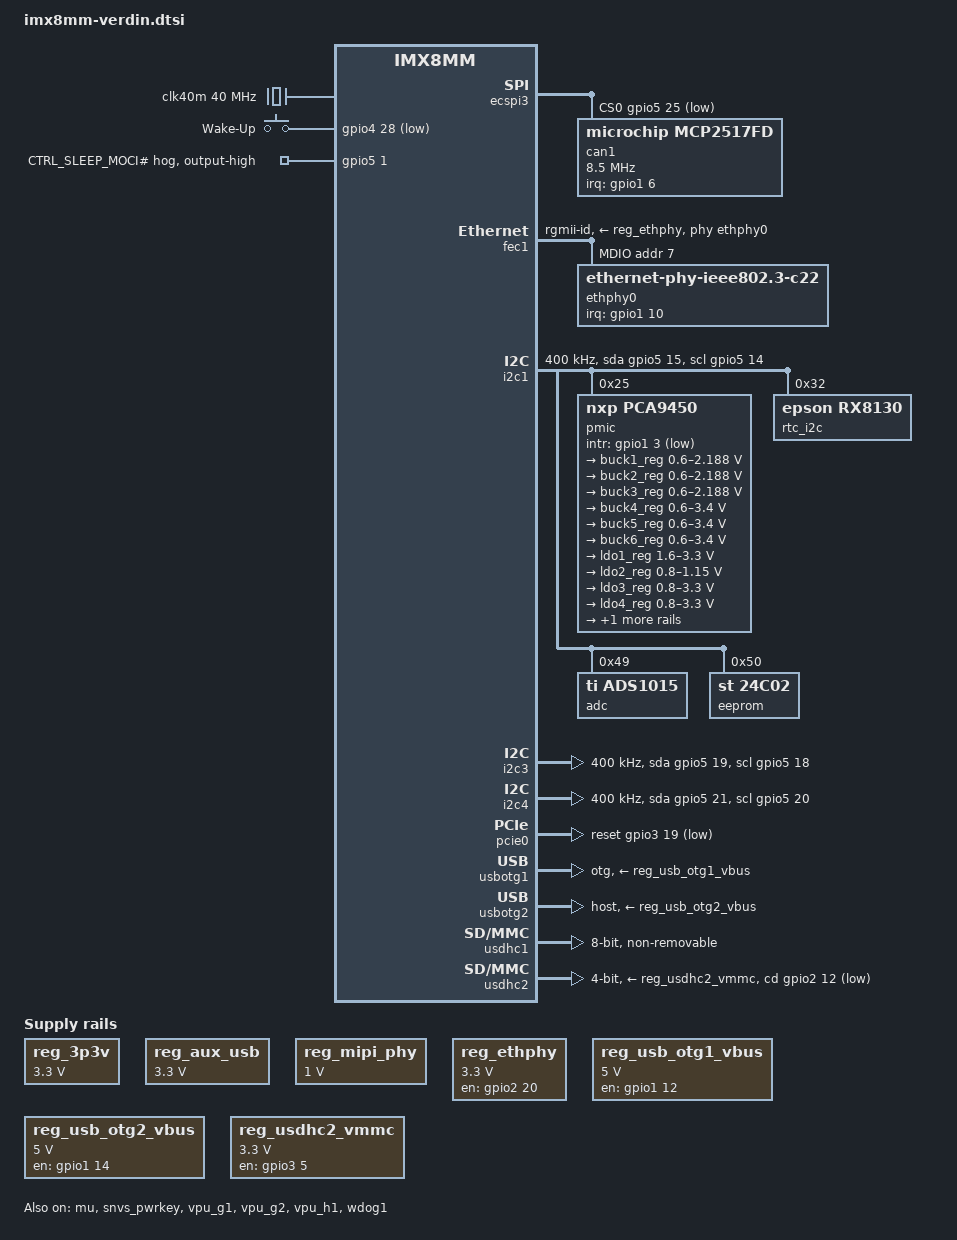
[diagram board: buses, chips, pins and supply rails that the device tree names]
// SPDX-License-Identifier: GPL-2.0-or-later OR MIT
/*
 * Copyright 2019-2021 Toradex
 */

#include "dt-bindings/pwm/pwm.h"
#include "imx8mm.dtsi"

/ {
	chosen {
		bootargs = "console=ttymxc0,115200 earlycon";
		stdout-path = &uart1;
	};

	aliases {
		rtc0 = &rtc_i2c;
		rtc1 = &snvs_rtc;
	};

	backlight: backlight {
		compatible = "pwm-backlight";
		brightness-levels = <0 45 63 88 119 158 203 255>;
		default-brightness-level = <4>;
		/* Verdin I2S_2_D_OUT (DSI_1_BKL_EN/DSI_1_BKL_EN_LVDS, SODIMM 46) */
		enable-gpios = <&gpio3 24 GPIO_ACTIVE_HIGH>;
		pinctrl-names = "default";
		pinctrl-0 = <&pinctrl_i2s_2_d_out_dsi_1_bkl_en>;
		power-supply = <&reg_3p3v>;
		/* Verdin PWM_3_DSI/PWM_3_DSI_LVDS (SODIMM 19) */
		pwms = <&pwm1 0 6666667 PWM_POLARITY_INVERTED>;
		status = "disabled";
	};

	/* fixed clock dedicated to SPI CAN controller */
	clk40m: oscillator {
		compatible = "fixed-clock";
		#clock-cells = <0>;
		clock-frequency = <40000000>;
	};

	gpio-keys {
		compatible = "gpio-keys";
		pinctrl-names = "default";
		pinctrl-0 = <&pinctrl_gpio_keys>;

		wakeup {
			debounce-interval = <10>;
			/* Verdin CTRL_WAKE1_MICO# (SODIMM 252) */
			gpios = <&gpio4 28 GPIO_ACTIVE_LOW>;
			label = "Wake-Up";
			linux,code = <KEY_WAKEUP>;
			wakeup-source;
		};
	};

	/* Carrier Board Supply */
	reg_3p3v: regulator-3p3v {
		compatible = "regulator-fixed";
		regulator-max-microvolt = <3300000>;
		regulator-min-microvolt = <3300000>;
		regulator-name = "REG_3P3V";
	};

	reg_aux_usb: regulator-aux-usb {
		compatible = "regulator-fixed";
		regulator-max-microvolt = <3300000>;
		regulator-min-microvolt = <3300000>;
		regulator-name = "REG_AUX_USB";
	};

	reg_mipi_phy: regulator-mipi-phy {
		compatible = "regulator-fixed";
		regulator-max-microvolt = <1000000>;
		regulator-min-microvolt = <1000000>;
		regulator-name = "REG_MIPI_PHY";
	};

	reg_ethphy: regulator-ethphy {
		compatible = "regulator-fixed";
		enable-active-high;
		gpio = <&gpio2 20 GPIO_ACTIVE_HIGH>; /* PMIC_EN_ETH */
		off-on-delay = <500000>;
		pinctrl-names = "default";
		pinctrl-0 = <&pinctrl_reg_eth>;
		regulator-boot-on;
		regulator-max-microvolt = <3300000>;
		regulator-min-microvolt = <3300000>;
		regulator-name = "V3.3_ETH";
		startup-delay-us = <200000>;
	};

	reg_usb_otg1_vbus: regulator-usb-otg1 {
		compatible = "regulator-fixed";
		enable-active-high;
		/* Verdin USB1_EN */
		gpio = <&gpio1 12 GPIO_ACTIVE_HIGH>;
		pinctrl-names = "default";
		pinctrl-0 = <&pinctrl_reg_usb1_en>;
		regulator-max-microvolt = <5000000>;
		regulator-min-microvolt = <5000000>;
		regulator-name = "usb_otg1_vbus";
	};

	reg_usb_otg2_vbus: regulator-usb-otg2 {
		compatible = "regulator-fixed";
		enable-active-high;
		/* Verdin USB_2_EN (SODIMM 185) */
		gpio = <&gpio1 14 GPIO_ACTIVE_HIGH>;
		pinctrl-names = "default";
		pinctrl-0 = <&pinctrl_reg_usb2_en>;
		regulator-max-microvolt = <5000000>;
		regulator-min-microvolt = <5000000>;
		regulator-name = "usb_otg2_vbus";
	};

	reg_usdhc2_vmmc: regulator-usdhc2 {
		compatible = "regulator-fixed";
		enable-active-high;
		/* Verdin SD_1_PWR_EN (SODIMM 76) */
		gpio = <&gpio3 5 GPIO_ACTIVE_HIGH>;
		pinctrl-names = "default";
		pinctrl-0 = <&pinctrl_usdhc2_pwr_en>;
		regulator-max-microvolt = <3300000>;
		regulator-min-microvolt = <3300000>;
		regulator-name = "V3.3_SD";
		startup-delay-us = <2000>;
		off-on-delay = <100000>;
	};

	reserved-memory {
		#address-cells = <2>;
		#size-cells = <2>;
		ranges;

		/* use the kernel configuration settings instead */
		/delete-node/ linux,cma;

		rpmsg_reserved: rpmsg@b8000000 {
			no-map;
			reg = <0 0xb8000000 0 0x400000>;
		};
	};
};

&A53_0 {
	cpu-supply = <&buck2_reg>;
};

/* Verdin SPI_1 */
&ecspi2 {
	#address-cells = <1>;
	#size-cells = <0>;
	pinctrl-names = "default";
	pinctrl-0 = <&pinctrl_ecspi2>;
	cs-gpios = <&gpio5 13 GPIO_ACTIVE_LOW>;
};

/* Verdin CAN_1 and CAN_2 (on-module) */
&ecspi3 {
	#address-cells = <1>;
	#size-cells = <0>;
	cs-gpios = <&gpio5 25 GPIO_ACTIVE_LOW>,
		   <&gpio1 5 GPIO_ACTIVE_LOW>;
	/* This property is required, even if marked as obsolete in the doku */
	fsl,spi-num-chipselects = <2>;
	pinctrl-names = "default";
	pinctrl-0 = <&pinctrl_ecspi3>;
	status = "okay";

	can1: can@0 {
		compatible = "microchip,mcp2517fd";
		clocks = <&clk40m>;
		gpio-controller;
		interrupt-parent = <&gpio1>;
		interrupts = <6 IRQ_TYPE_EDGE_FALLING>;
		microchip,clock-allways-on;
		microchip,clock-out-div = <1>;
		pinctrl-names = "default";
		pinctrl-0 = <&pinctrl_can1_int>;
		reg = <0>;
		spi-max-frequency = <8500000>;
	};

	can2: can@1 {
		compatible = "microchip,mcp2517fd";
		clocks = <&clk40m>;
		gpio-controller;
		interrupt-parent = <&gpio1>;
		interrupts = <7 IRQ_TYPE_EDGE_FALLING>;
		pinctrl-names = "default";
		pinctrl-0 = <&pinctrl_can2_int>;
		reg = <1>;
		spi-max-frequency = <2000000>;
		/* not assembled */
		status = "disabled";
	};
};

/* Verdin ETH_1 (on-module PHY) */
&fec1 {
	fsl,magic-packet;
	phy-handle = <&ethphy0>;
	phy-mode = "rgmii-id";
	phy-supply = <&reg_ethphy>;
	pinctrl-names = "default", "sleep";
	pinctrl-0 = <&pinctrl_fec1>;
	pinctrl-1 = <&pinctrl_fec1_sleep>;

	mdio {
		#address-cells = <1>;
		#size-cells = <0>;

		ethphy0: ethernet-phy@7 {
			compatible = "ethernet-phy-ieee802.3-c22";
			interrupt-parent = <&gpio1>;
			interrupts = <10 IRQ_TYPE_LEVEL_LOW>;
			micrel,led-mode = <0>;
			reg = <7>;
		};
	};
};

/* Verdin QSPI_1 */
&flexspi {
	pinctrl-names = "default";
	pinctrl-0 = <&pinctrl_flexspi0>;
#if 0
	flash0: mt25qu256aba@0 {
		#address-cells = <1>;
		#size-cells = <1>;
		compatible = "micron,mt25qu256aba";
		reg = <0>;
		spi-max-frequency = <80000000>;
		spi-nor,ddr-quad-read-dummy = <6>;
	};
#endif
};

&gpio1 {
	gpio-line-names = "SODIMM_216",
			  "SODIMM_19",
			  "",
			  "",
			  "",
			  "",
			  "",
			  "",
			  "SODIMM_220",
			  "SODIMM_222",
			  "",
			  "SODIMM_218",
			  "SODIMM_155",
			  "SODIMM_157",
			  "SODIMM_185",
			  "SODIMM_187";
};

&gpio2 {
	gpio-line-names = "",
			  "",
			  "",
			  "",
			  "",
			  "",
			  "",
			  "",
			  "",
			  "",
			  "",
			  "",
			  "SODIMM_84",
			  "SODIMM_78",
			  "SODIMM_74",
			  "SODIMM_80",
			  "SODIMM_82",
			  "SODIMM_70",
			  "SODIMM_72";
};

&gpio5 {
	gpio-line-names = "SODIMM_131",
			  "",
			  "SODIMM_91",
			  "SODIMM_16",
			  "SODIMM_15",
			  "SODIMM_208",
			  "SODIMM_137",
			  "SODIMM_139",
			  "SODIMM_141",
			  "SODIMM_143",
			  "SODIMM_196",
			  "SODIMM_200",
			  "SODIMM_198",
			  "SODIMM_202",
			  "",
			  "",
			  "SODIMM_55",
			  "SODIMM_53",
			  "SODIMM_95",
			  "SODIMM_93",
			  "SODIMM_14",
			  "SODIMM_12",
			  "",
			  "",
			  "",
			  "",
			  "SODIMM_210",
			  "SODIMM_212",
			  "SODIMM_151",
			  "SODIMM_153";

	ctrl_sleep_moci {
		gpio-hog;
		/* Verdin CTRL_SLEEP_MOCI# (SODIMM 256) */
		gpios = <1 GPIO_ACTIVE_HIGH>;
		line-name = "CTRL_SLEEP_MOCI#";
		output-high;
		pinctrl-names = "default";
		pinctrl-0 = <&pinctrl_ctrl_sleep_moci>;
	};
};

/* On-module I2C */
&i2c1 {
	clock-frequency = <400000>;
	pinctrl-names = "default", "gpio";
	pinctrl-0 = <&pinctrl_i2c1>;
	pinctrl-1 = <&pinctrl_i2c1_gpio>;
	scl-gpios = <&gpio5 14 (GPIO_ACTIVE_HIGH | GPIO_OPEN_DRAIN)>;
	sda-gpios = <&gpio5 15 (GPIO_ACTIVE_HIGH | GPIO_OPEN_DRAIN)>;
	status = "okay";

	pmic: pca9450@25 {
		compatible = "nxp,pca9450";
		gpio_intr = <&gpio1 3 GPIO_ACTIVE_LOW>;
		i2c-lt-en = <0x101>;
		/* PMIC PCA9450 PMIC_nINT GPIO1_IO3 */
		pinctrl-0 = <&pinctrl_pmic>;
		reg = <0x25>;

		regulators {
			#address-cells = <1>;
			#size-cells = <0>;

			pca9450,pmic-buck2-uses-i2c-dvs;
			/* Run/Standby voltage */
			pca9450,pmic-buck2-dvs-voltage = <950000>, <850000>;

			buck1_reg: regulator@0 {
				reg = <0>;
				regulator-compatible = "buck1";
				regulator-min-microvolt = <600000>;
				regulator-max-microvolt = <2187500>;
				regulator-boot-on;
				regulator-always-on;
				regulator-ramp-delay = <3125>;
			};

			buck2_reg: regulator@1 {
				reg = <1>;
				regulator-compatible = "buck2";
				regulator-min-microvolt = <600000>;
				regulator-max-microvolt = <2187500>;
				regulator-boot-on;
				regulator-always-on;
				regulator-ramp-delay = <3125>;
			};

			buck3_reg: regulator@2 {
				reg = <2>;
				regulator-compatible = "buck3";
				regulator-min-microvolt = <600000>;
				regulator-max-microvolt = <2187500>;
				regulator-boot-on;
				regulator-always-on;
			};

			buck4_reg: regulator@3 {
				reg = <3>;
				regulator-compatible = "buck4";
				regulator-min-microvolt = <600000>;
				regulator-max-microvolt = <3400000>;
				regulator-boot-on;
				regulator-always-on;
			};

			buck5_reg: regulator@4 {
				reg = <4>;
				regulator-compatible = "buck5";
				regulator-min-microvolt = <600000>;
				regulator-max-microvolt = <3400000>;
				regulator-boot-on;
				regulator-always-on;
			};

			buck6_reg: regulator@5 {
				reg = <5>;
				regulator-compatible = "buck6";
				regulator-min-microvolt = <600000>;
				regulator-max-microvolt = <3400000>;
				regulator-boot-on;
				regulator-always-on;
			};

			ldo1_reg: regulator@6 {
				reg = <6>;
				regulator-compatible = "ldo1";
				regulator-min-microvolt = <1600000>;
				regulator-max-microvolt = <3300000>;
				regulator-boot-on;
				regulator-always-on;
			};

			ldo2_reg: regulator@7 {
				reg = <7>;
				regulator-compatible = "ldo2";
				regulator-min-microvolt = <800000>;
				regulator-max-microvolt = <1150000>;
				regulator-boot-on;
				regulator-always-on;
			};

			ldo3_reg: regulator@8 {
				reg = <8>;
				regulator-compatible = "ldo3";
				regulator-min-microvolt = <800000>;
				regulator-max-microvolt = <3300000>;
				regulator-boot-on;
				regulator-always-on;
			};

			ldo4_reg: regulator@9 {
				reg = <9>;
				regulator-compatible = "ldo4";
				regulator-min-microvolt = <800000>;
				regulator-max-microvolt = <3300000>;
				regulator-boot-on;
				regulator-always-on;
			};

			ldo5_reg: regulator@10 {
				reg = <10>;
				regulator-compatible = "ldo5";
				regulator-min-microvolt = <1800000>;
				regulator-max-microvolt = <3300000>;
			};
		};
	};

	rtc_i2c: rtc@32 {
		compatible = "epson,rx8130";
		reg = <0x32>;
	};

	adc@49 {
		compatible = "ti,ads1015";
		reg = <0x49>;
		#address-cells = <1>;
		#size-cells = <0>;

		/* Verdin I2C_1 (ADC_4 - ADC_3) */
		channel@0 {
			reg = <0>;
			ti,gain = <2>;
			ti,datarate = <4>;
		};

		/* Verdin I2C_1 (ADC_4 - ADC_1) */
		channel@1 {
			reg = <1>;
			ti,gain = <2>;
			ti,datarate = <4>;
		};

		/* Verdin I2C_1 (ADC_3 - ADC_1) */
		channel@2 {
			reg = <2>;
			ti,gain = <2>;
			ti,datarate = <4>;
		};

		/* Verdin I2C_1 (ADC_2 - ADC_1) */
		channel@3 {
			reg = <3>;
			ti,gain = <2>;
			ti,datarate = <4>;
		};

		/* Verdin I2C_1 ADC_4 */
		channel@4 {
			reg = <4>;
			ti,gain = <2>;
			ti,datarate = <4>;
		};

		/* Verdin I2C_1 ADC_3 */
		channel@5 {
			reg = <5>;
			ti,gain = <2>;
			ti,datarate = <4>;
		};

		/* Verdin I2C_1 ADC_2 */
		channel@6 {
			reg = <6>;
			ti,gain = <2>;
			ti,datarate = <4>;
		};

		/* Verdin I2C_1 ADC_1 */
		channel@7 {
			reg = <7>;
			ti,gain = <2>;
			ti,datarate = <4>;
		};
	};

	eeprom@50 {
		compatible = "st,24c02";
		pagesize = <16>;
		reg = <0x50>;
	};
};

/* Verdin I2C_2_DSI */
&i2c2 {
	clock-frequency = <10000>;
	pinctrl-names = "default", "gpio";
	pinctrl-0 = <&pinctrl_i2c2>;
	pinctrl-1 = <&pinctrl_i2c2_gpio>;
	scl-gpios = <&gpio5 16 (GPIO_ACTIVE_HIGH | GPIO_OPEN_DRAIN)>;
	sda-gpios = <&gpio5 17 (GPIO_ACTIVE_HIGH | GPIO_OPEN_DRAIN)>;
	status = "disabled";
};

/* Verdin I2C_3_HDMI N/A */

/* Verdin I2C_4_CSI */
&i2c3 {
	clock-frequency = <400000>;
	pinctrl-names = "default", "gpio";
	pinctrl-0 = <&pinctrl_i2c3>;
	pinctrl-1 = <&pinctrl_i2c3_gpio>;
	scl-gpios = <&gpio5 18 (GPIO_ACTIVE_HIGH | GPIO_OPEN_DRAIN)>;
	sda-gpios = <&gpio5 19 (GPIO_ACTIVE_HIGH | GPIO_OPEN_DRAIN)>;
};

/* Verdin I2C_1 */
&i2c4 {
	clock-frequency = <400000>;
	pinctrl-names = "default", "gpio";
	pinctrl-0 = <&pinctrl_i2c4>;
	pinctrl-1 = <&pinctrl_i2c4_gpio>;
	scl-gpios = <&gpio5 20 (GPIO_ACTIVE_HIGH | GPIO_OPEN_DRAIN)>;
	sda-gpios = <&gpio5 21 (GPIO_ACTIVE_HIGH | GPIO_OPEN_DRAIN)>;

	gpio_expander_21: gpio-expander@21 {
		compatible = "nxp,pcal6416";
		#gpio-cells = <2>;
		gpio-controller;
		reg = <0x21>;
		status = "disabled";
		vcc-supply = <&reg_3p3v>;
	};

	lvds_ti_sn65dsi83: bridge@2c {
		compatible = "ti,sn65dsi83";
		/* Verdin GPIO_9_DSI (SN65DSI84 IRQ, SODIMM 17, unused) */
		/* Verdin GPIO_10_DSI (SODIMM 21) */
		enable-gpios = <&gpio3 3 GPIO_ACTIVE_HIGH>;
		pinctrl-names = "default";
		pinctrl-0 = <&pinctrl_gpio_10_dsi>;
		reg = <0x2c>;
		status = "disabled";
	};

	/* Current measurement into module VCC */
	hwmon: hwmon@40 {
		compatible = "ti,ina219";
		reg = <0x40>;
		shunt-resistor = <10000>;
		status = "disabled";
	};

	hdmi_lontium_lt8912: hdmi@48 {
		compatible = "lontium,lt8912";
		ddc-i2c-bus = <&i2c2>;
		/* Verdin PWM_3_DSI (SODIMM 19) */
		hpd-gpios = <&gpio1 1 GPIO_ACTIVE_HIGH>;
		pinctrl-names = "default";
		pinctrl-0 = <&pinctrl_gpio_10_dsi>, <&pinctrl_pwm_3_dsi_hpd_gpio>;
		reg = <0x48>;
		/* Verdin GPIO_9_DSI (LT8912 INT, SODIMM 17, unused) */
		/* Verdin GPIO_10_DSI (SODIMM 21) */
		reset-gpios = <&gpio3 3 GPIO_ACTIVE_LOW>;
		status = "disabled";
	};

	atmel_mxt_ts: touch@4a {
		compatible = "atmel,maxtouch";
		/* Verdin GPIO_9_DSI (TOUCH_INT#, SODIMM 17, also routed to SN65dsi83 IRQ albeit currently unused */
		interrupt-parent = <&gpio3>;
		interrupts = <15 IRQ_TYPE_EDGE_FALLING>;
		pinctrl-names = "default";
		pinctrl-0 = <&pinctrl_gpio_9_dsi>, <&pinctrl_i2s_2_bclk_touch_reset>;
		reg = <0x4a>;
		/* Verdin I2S_2_BCLK (TOUCH_RESET#, SODIMM 42) */
		reset-gpios = <&gpio3 23 GPIO_ACTIVE_HIGH>;
		status = "disabled";
	};

	/* temperature sensor on carrier board */
	hwmon_temp: hwmontemp@4f {
		compatible = "ti,tmp75c";
		reg = <0x4f>;
		status = "disabled";
	};

	/* EEPROM on display adapter (MIPI DSI Display Adapter) */
	eeprom_display_adapter: eeprom@50 {
		compatible = "st,24c02";
		pagesize = <16>;
		reg = <0x50>;
		status = "disabled";
	};

	/* EEPROM on carrier board */
	eeprom_carrier_board: eeprom@57 {
		compatible = "st,24c02";
		pagesize = <16>;
		reg = <0x57>;
		status = "disabled";
	};
};

&mu {
	status = "okay";
};

/* Verdin PCIE_1 */
&pcie0 {
	assigned-clocks = <&clk IMX8MM_CLK_PCIE1_AUX>,
			  <&clk IMX8MM_CLK_PCIE1_PHY>,
			  <&clk IMX8MM_CLK_PCIE1_CTRL>;
	assigned-clock-parents = <&clk IMX8MM_SYS_PLL2_50M>,
				 <&clk IMX8MM_SYS_PLL2_100M>,
				 <&clk IMX8MM_SYS_PLL2_250M>;
	assigned-clock-rates = <10000000>, <100000000>, <250000000>;
	clocks = <&clk IMX8MM_CLK_PCIE1_ROOT>,
		 <&clk IMX8MM_CLK_PCIE1_AUX>,
		 <&clk IMX8MM_CLK_PCIE1_PHY>,
		 <&clk IMX8MM_CLK_PCIE1_PHY>;
	clock-names = "pcie", "pcie_aux", "pcie_phy", "pcie_bus";
	epdev_on-supply = <&reg_3p3v>;
	ext_osc = <0>;
	l1ss-disabled;
	pinctrl-names = "default";
	pinctrl-0 = <&pinctrl_pcie0>;
	reserved-region = <&rpmsg_reserved>;
	/* PCIE_1_RESET# (SODIMM 244) */
	reset-gpio = <&gpio3 19 GPIO_ACTIVE_LOW>;
};

/* Verdin PWM_3_DSI */
&pwm1 {
	pinctrl-names = "default";
	pinctrl-0 = <&pinctrl_pwm_1>;
	#pwm-cells = <3>;
};

/* Verdin PWM_1 */
&pwm2 {
	pinctrl-names = "default";
	pinctrl-0 = <&pinctrl_pwm_2>;
	#pwm-cells = <3>;
};

/* Verdin PWM_2 */
&pwm3 {
	pinctrl-names = "default";
	pinctrl-0 = <&pinctrl_pwm_3>;
	#pwm-cells = <3>;
};

/* VERDIN I2S_1 */
&sai2 {
	#sound-dai-cells = <0>;
	assigned-clock-parents = <&clk IMX8MM_AUDIO_PLL1_OUT>;
	assigned-clock-rates = <24576000>;
	assigned-clocks = <&clk IMX8MM_CLK_SAI2>;
	pinctrl-names = "default";
	pinctrl-0 = <&pinctrl_sai2>;
};

&snvs_pwrkey {
	status = "okay";
};

/* Verdin UART_3, used as the Linux console */
&uart1 {
	pinctrl-names = "default";
	pinctrl-0 = <&pinctrl_uart1>;
};

/* Verdin UART_1 */
&uart2 {
	pinctrl-names = "default";
	pinctrl-0 = <&pinctrl_uart2>;
	fsl,uart-has-rtscts;
};

/* Verdin UART_2 */
&uart3 {
	pinctrl-names = "default";
	pinctrl-0 = <&pinctrl_uart3>;
	fsl,uart-has-rtscts;
};

/* Verdin UART_4 */
/*
 * resource allocated to M4 by default, must not be accessed from A-35 or you
 * get an OOPS
 */
&uart4 {
	pinctrl-names = "default";
	pinctrl-0 = <&pinctrl_uart4>;
};

&usbmisc1 {
	vbus-wakeup-supply = <&reg_aux_usb>;
};

&usbmisc2 {
	vbus-wakeup-supply = <&reg_aux_usb>;
};

/* Verdin USB_1 */
&usbotg1 {
	dr_mode = "otg";
	hnp-disable;
	srp-disable;
	adp-disable;
	over-current-active-low;
	picophy,dc-vol-level-adjust = <7>;
	picophy,pre-emp-curr-control = <3>;
	vbus-supply = <&reg_usb_otg1_vbus>;
};

/* Verdin USB_2 */
&usbotg2 {
	dr_mode = "host";
	over-current-active-low;
	picophy,dc-vol-level-adjust = <7>;
	picophy,pre-emp-curr-control = <3>;
	vbus-supply = <&reg_usb_otg2_vbus>;
};

&usbphynop1 {
	vcc-supply = <&reg_aux_usb>;
};

&usbphynop2 {
	vcc-supply = <&reg_aux_usb>;
};

/* On-module eMMC */
&usdhc1 {
	bus-width = <8>;
	keep-power-in-suspend;
	non-removable;
	pinctrl-names = "default", "state_100mhz", "state_200mhz";
	pinctrl-0 = <&pinctrl_usdhc1>;
	pinctrl-1 = <&pinctrl_usdhc1_100mhz>;
	pinctrl-2 = <&pinctrl_usdhc1_200mhz>;
	pm-ignore-notify;
	status = "okay";
	/* TODO Strobe */
};

/* Verdin SD_1 */
&usdhc2 {
	bus-width = <4>;
	cd-gpios = <&gpio2 12 GPIO_ACTIVE_LOW>;
	disable-wp;
	pinctrl-names = "default", "state_100mhz", "state_200mhz", "sleep";
	pinctrl-0 = <&pinctrl_usdhc2>, <&pinctrl_usdhc2_cd>;
	pinctrl-1 = <&pinctrl_usdhc2_100mhz>, <&pinctrl_usdhc2_cd>;
	pinctrl-2 = <&pinctrl_usdhc2_200mhz>, <&pinctrl_usdhc2_cd>;
	pinctrl-3 = <&pinctrl_usdhc2_sleep>, <&pinctrl_usdhc2_cd_sleep>;
	vmmc-supply = <&reg_usdhc2_vmmc>;
};

&vpu_g1 {
	status = "okay";
};

&vpu_g2 {
	status = "okay";
};

&vpu_h1 {
	status = "okay";
};

&wdog1 {
	fsl,ext-reset-output;
	pinctrl-names = "default";
	pinctrl-0 = <&pinctrl_wdog>;
	status = "okay";
};

&iomuxc {
	pinctrl-names = "default";
	pinctrl-0 = <&pinctrl_gpio1>, <&pinctrl_gpio2>,
		    <&pinctrl_gpio3>, <&pinctrl_gpio4>,
		    <&pinctrl_gpio7>, <&pinctrl_gpio8>,
		    <&pinctrl_gpio_hog1>, <&pinctrl_gpio_hog2>, <&pinctrl_gpio_hog3>,
		    <&pinctrl_pmic_tpm_ena>;

	pinctrl_can1_int: can1intgrp {
		fsl,pins = <
			MX8MM_IOMUXC_GPIO1_IO06_GPIO1_IO6		0x146	/* CAN_1_SPI_INT#_1.8V */
		>;
	};

	pinctrl_can2_int: can2intgrp {
		fsl,pins = <
			MX8MM_IOMUXC_GPIO1_IO07_GPIO1_IO7		0x106	/* CAN_2_SPI_INT#_1.8V */
		>;
	};

	pinctrl_ctrl_sleep_moci: ctrlsleepmocigrp {
		fsl,pins = <
			MX8MM_IOMUXC_SAI3_TXD_GPIO5_IO1			0x106	/* SODIMM 256 */
		>;
	};

	pinctrl_ecspi2: ecspi2grp {
		fsl,pins = <
			MX8MM_IOMUXC_ECSPI2_SCLK_ECSPI2_SCLK		0x6	/* SODIMM 196 */
			MX8MM_IOMUXC_ECSPI2_MOSI_ECSPI2_MOSI		0x6	/* SODIMM 200 */
			MX8MM_IOMUXC_ECSPI2_MISO_ECSPI2_MISO		0x6	/* SODIMM 198 */
			MX8MM_IOMUXC_ECSPI2_SS0_GPIO5_IO13		0x6	/* SODIMM 202 */
		>;
	};

	pinctrl_ecspi3: ecspi3grp {
		fsl,pins = <
			MX8MM_IOMUXC_UART1_RXD_ECSPI3_SCLK		0x6	/* CAN_SPI_SCK_1.8V */
			MX8MM_IOMUXC_UART1_TXD_ECSPI3_MOSI		0x6	/* CAN_SPI_MOSI_1.8V */
			MX8MM_IOMUXC_UART2_RXD_ECSPI3_MISO		0x6	/* CAN_SPI_MISO_1.8V */
			MX8MM_IOMUXC_UART2_TXD_GPIO5_IO25		0x6	/* CAN_1_SPI_CS_1.8V# */
			MX8MM_IOMUXC_GPIO1_IO05_GPIO1_IO5		0x146	/* CAN_2_SPI_CS#_1.8V */
		>;
	};

	pinctrl_fec1: fec1grp {
		fsl,pins = <
			MX8MM_IOMUXC_ENET_MDC_ENET1_MDC			0x3
			MX8MM_IOMUXC_ENET_MDIO_ENET1_MDIO		0x3
			MX8MM_IOMUXC_ENET_TD3_ENET1_RGMII_TD3		0x1f
			MX8MM_IOMUXC_ENET_TD2_ENET1_RGMII_TD2		0x1f
			MX8MM_IOMUXC_ENET_TD1_ENET1_RGMII_TD1		0x1f
			MX8MM_IOMUXC_ENET_TD0_ENET1_RGMII_TD0		0x1f
			MX8MM_IOMUXC_ENET_RD3_ENET1_RGMII_RD3		0x91
			MX8MM_IOMUXC_ENET_RD2_ENET1_RGMII_RD2		0x91
			MX8MM_IOMUXC_ENET_RD1_ENET1_RGMII_RD1		0x91
			MX8MM_IOMUXC_ENET_RD0_ENET1_RGMII_RD0		0x91
			MX8MM_IOMUXC_ENET_TXC_ENET1_RGMII_TXC		0x1f
			MX8MM_IOMUXC_ENET_RXC_ENET1_RGMII_RXC		0x91
			MX8MM_IOMUXC_ENET_RX_CTL_ENET1_RGMII_RX_CTL	0x91
			MX8MM_IOMUXC_ENET_TX_CTL_ENET1_RGMII_TX_CTL	0x1f
			MX8MM_IOMUXC_GPIO1_IO10_GPIO1_IO10		0x146
		>;
	};

	pinctrl_fec1_sleep: fec1-sleepgrp {
		fsl,pins = <
			MX8MM_IOMUXC_ENET_MDC_ENET1_MDC			0x3
			MX8MM_IOMUXC_ENET_MDIO_ENET1_MDIO		0x3
			MX8MM_IOMUXC_ENET_TD3_GPIO1_IO18		0x1f
			MX8MM_IOMUXC_ENET_TD2_GPIO1_IO19		0x1f
			MX8MM_IOMUXC_ENET_TD1_GPIO1_IO20		0x1f
			MX8MM_IOMUXC_ENET_TD0_GPIO1_IO21		0x1f
			MX8MM_IOMUXC_ENET_RD3_ENET1_RGMII_RD3		0x91
			MX8MM_IOMUXC_ENET_RD2_ENET1_RGMII_RD2		0x91
			MX8MM_IOMUXC_ENET_RD1_ENET1_RGMII_RD1		0x91
			MX8MM_IOMUXC_ENET_RD0_ENET1_RGMII_RD0		0x91
			MX8MM_IOMUXC_ENET_TXC_GPIO1_IO23		0x1f
			MX8MM_IOMUXC_ENET_RXC_ENET1_RGMII_RXC		0x91
			MX8MM_IOMUXC_ENET_RX_CTL_ENET1_RGMII_RX_CTL	0x91
			MX8MM_IOMUXC_ENET_TX_CTL_GPIO1_IO22		0x1f
			MX8MM_IOMUXC_GPIO1_IO10_GPIO1_IO10		0x106
		>;
	};

	pinctrl_flexspi0: flexspi0grp {
		fsl,pins = <
			MX8MM_IOMUXC_NAND_ALE_QSPI_A_SCLK		0x106	/* SODIMM 52 */
			MX8MM_IOMUXC_NAND_CE0_B_QSPI_A_SS0_B		0x106	/* SODIMM 54 */
			MX8MM_IOMUXC_NAND_CE1_B_QSPI_A_SS1_B		0x106	/* SODIMM 64 */
			MX8MM_IOMUXC_NAND_DQS_QSPI_A_DQS		0x106	/* SODIMM 66 */
			MX8MM_IOMUXC_NAND_DATA00_QSPI_A_DATA0		0x106	/* SODIMM 56 */
			MX8MM_IOMUXC_NAND_DATA01_QSPI_A_DATA1		0x106	/* SODIMM 58 */
			MX8MM_IOMUXC_NAND_DATA02_QSPI_A_DATA2		0x106	/* SODIMM 60 */
			MX8MM_IOMUXC_NAND_DATA03_QSPI_A_DATA3		0x106	/* SODIMM 62 */
		>;
	};

	pinctrl_gpio1: gpio1grp {
		fsl,pins = <
			MX8MM_IOMUXC_NAND_CE3_B_GPIO3_IO4		0x106	/* SODIMM 206 */
		>;
	};

	pinctrl_gpio2: gpio2grp {
		fsl,pins = <
			MX8MM_IOMUXC_SPDIF_EXT_CLK_GPIO5_IO5		0x106	/* SODIMM 208 */
		>;
	};

	pinctrl_gpio3: gpio3grp {
		fsl,pins = <
			MX8MM_IOMUXC_UART3_RXD_GPIO5_IO26		0x106	/* SODIMM 210 */
		>;
	};

	pinctrl_gpio4: gpio4grp {
		fsl,pins = <
			MX8MM_IOMUXC_UART3_TXD_GPIO5_IO27		0x106	/* SODIMM 212 */
		>;
	};

	pinctrl_gpio5: gpio5grp {
		fsl,pins = <
			MX8MM_IOMUXC_GPIO1_IO00_GPIO1_IO0		0x106	/* SODIMM 216 */
		>;
	};

	pinctrl_gpio6: gpio6grp {
		fsl,pins = <
			MX8MM_IOMUXC_GPIO1_IO11_GPIO1_IO11		0x106	/* SODIMM 218 */
		>;
	};

	pinctrl_gpio7: gpio7grp {
		fsl,pins = <
			MX8MM_IOMUXC_GPIO1_IO08_GPIO1_IO8		0x106	/* SODIMM 220 */
		>;
	};

	pinctrl_gpio8: gpio8grp {
		fsl,pins = <
			MX8MM_IOMUXC_GPIO1_IO09_GPIO1_IO9		0x106	/* SODIMM 222 */
		>;
	};

	/* Verdin GPIO_9_DSI (pulled-up as active-low) */
	pinctrl_gpio_9_dsi: gpio9dsigrp {
		fsl,pins = <
			MX8MM_IOMUXC_NAND_RE_B_GPIO3_IO15		0x146	/* SODIMM 17 */
		>;
	};

	/* Verdin GPIO_10_DSI (pulled-up as active-low) */
	pinctrl_gpio_10_dsi: gpio10dsigrp {
		fsl,pins = <
			MX8MM_IOMUXC_NAND_CE2_B_GPIO3_IO3		0x146	/* SODIMM 21 */
		>;
	};

	pinctrl_gpio_hog1: gpiohog1grp {
		fsl,pins = <
			MX8MM_IOMUXC_SAI1_MCLK_GPIO4_IO20		0x106	/* SODIMM 88 */
			MX8MM_IOMUXC_SAI1_RXC_GPIO4_IO1			0x106	/* SODIMM 90 */
			MX8MM_IOMUXC_SAI1_RXD0_GPIO4_IO2		0x106	/* SODIMM 92 */
			MX8MM_IOMUXC_SAI1_RXD1_GPIO4_IO3		0x106	/* SODIMM 94 */
			MX8MM_IOMUXC_SAI1_RXD2_GPIO4_IO4		0x106	/* SODIMM 96 */
			MX8MM_IOMUXC_SAI1_RXD3_GPIO4_IO5		0x106	/* SODIMM 100 */
			MX8MM_IOMUXC_SAI1_RXFS_GPIO4_IO0		0x106	/* SODIMM 102 */
			MX8MM_IOMUXC_SAI1_TXC_GPIO4_IO11		0x106	/* SODIMM 104 */
			MX8MM_IOMUXC_SAI1_TXD0_GPIO4_IO12		0x106	/* SODIMM 106 */
			MX8MM_IOMUXC_SAI1_TXD1_GPIO4_IO13		0x106	/* SODIMM 108 */
			MX8MM_IOMUXC_SAI1_TXD2_GPIO4_IO14		0x106	/* SODIMM 112 */
			MX8MM_IOMUXC_SAI1_TXD3_GPIO4_IO15		0x106	/* SODIMM 114 */
			MX8MM_IOMUXC_SAI1_TXD4_GPIO4_IO16		0x106	/* SODIMM 116 */
			MX8MM_IOMUXC_SAI1_TXD6_GPIO4_IO18		0x106	/* SODIMM 118 */
			MX8MM_IOMUXC_SAI1_TXFS_GPIO4_IO10		0x106	/* SODIMM 120 */
		>;
	};

	pinctrl_gpio_hog2: gpiohog2grp {
		fsl,pins = <
			MX8MM_IOMUXC_SAI3_MCLK_GPIO5_IO2		0x106	/* SODIMM 91 */
		>;
	};

	pinctrl_gpio_hog3: gpiohog3grp {
		fsl,pins = <
			MX8MM_IOMUXC_GPIO1_IO13_GPIO1_IO13		0x146	/* SODIMM 157 */
			MX8MM_IOMUXC_GPIO1_IO15_GPIO1_IO15		0x146	/* SODIMM 187 */
		>;
	};

	pinctrl_gpio_keys: gpiokeysgrp {
		fsl,pins = <
			MX8MM_IOMUXC_SAI3_RXFS_GPIO4_IO28		0x146	/* SODIMM 252 */
		>;
	};

	/* On-module I2C */
	pinctrl_i2c1: i2c1grp {
		fsl,pins = <
			MX8MM_IOMUXC_I2C1_SCL_I2C1_SCL			0x40000146	/* PMIC_I2C_SCL */
			MX8MM_IOMUXC_I2C1_SDA_I2C1_SDA			0x40000146	/* PMIC_I2C_SDA */
		>;
	};

	pinctrl_i2c1_gpio: i2c1gpiogrp {
		fsl,pins = <
			MX8MM_IOMUXC_I2C1_SCL_GPIO5_IO14		0x146	/* PMIC_I2C_SCL */
			MX8MM_IOMUXC_I2C1_SDA_GPIO5_IO15		0x146	/* PMIC_I2C_SDA */
		>;
	};

	/* Verdin I2C_4_CSI */
	pinctrl_i2c2: i2c2grp {
		fsl,pins = <
			MX8MM_IOMUXC_I2C2_SCL_I2C2_SCL			0x40000146	/* SODIMM 55 */
			MX8MM_IOMUXC_I2C2_SDA_I2C2_SDA			0x40000146	/* SODIMM 53 */
		>;
	};

	pinctrl_i2c2_gpio: i2c2gpiogrp {
		fsl,pins = <
			MX8MM_IOMUXC_I2C2_SCL_GPIO5_IO16		0x146	/* SODIMM 55 */
			MX8MM_IOMUXC_I2C2_SDA_GPIO5_IO17		0x146	/* SODIMM 53 */
		>;
	};

	/* Verdin I2C_2_DSI */
	pinctrl_i2c3: i2c3grp {
		fsl,pins = <
			MX8MM_IOMUXC_I2C3_SCL_I2C3_SCL			0x40000146	/* SODIMM 95 */
			MX8MM_IOMUXC_I2C3_SDA_I2C3_SDA			0x40000146	/* SODIMM 93 */
		>;
	};

	pinctrl_i2c3_gpio: i2c3gpiogrp {
		fsl,pins = <
			MX8MM_IOMUXC_I2C3_SCL_GPIO5_IO18		0x146	/* SODIMM 95 */
			MX8MM_IOMUXC_I2C3_SDA_GPIO5_IO19		0x146	/* SODIMM 93 */
		>;
	};

	/* Verdin I2C_1 */
	pinctrl_i2c4: i2c4grp {
		fsl,pins = <
			MX8MM_IOMUXC_I2C4_SCL_I2C4_SCL			0x40000146	/* SODIMM 14 */
			MX8MM_IOMUXC_I2C4_SDA_I2C4_SDA			0x40000146	/* SODIMM 12 */
		>;
	};

	pinctrl_i2c4_gpio: i2c4gpiogrp {
		fsl,pins = <
			MX8MM_IOMUXC_I2C4_SCL_GPIO5_IO20		0x146	/* SODIMM 14 */
			MX8MM_IOMUXC_I2C4_SDA_GPIO5_IO21		0x146	/* SODIMM 12 */
		>;
	};

	/* Verdin I2S_2_BCLK (TOUCH_RESET#) */
	pinctrl_i2s_2_bclk_touch_reset: i2s2bclktouchresetgrp {
		fsl,pins = <
			MX8MM_IOMUXC_SAI5_RXD2_GPIO3_IO23		0x6	/* SODIMM 42 */
		>;
	};

	/* Verdin I2S_2_D_OUT shared with SAI5 */
	pinctrl_i2s_2_d_out_dsi_1_bkl_en: i2s2doutdsi1bklengrp {
		fsl,pins = <
			MX8MM_IOMUXC_SAI5_RXD3_GPIO3_IO24		0x6	/* SODIMM 46 */
		>;
	};

	pinctrl_pcie0: pcie0grp {
		fsl,pins = <
			MX8MM_IOMUXC_SAI5_RXFS_GPIO3_IO19		0x6	/* SODIMM 244 */
			MX8MM_IOMUXC_SD2_RESET_B_GPIO2_IO19		0x6	/* PMIC_EN_PCIe_CLK, unused */
		>;
	};

	pinctrl_pmic: pmicirqgrp {
		fsl,pins = <
			MX8MM_IOMUXC_GPIO1_IO03_GPIO1_IO3		0x141	/* PMIC_INT# */
		>;
	};

	/* Verdin PWM_3_DSI shared with GPIO1_IO1 */
	pinctrl_pwm_1: pwm1grp {
		fsl,pins = <
			MX8MM_IOMUXC_GPIO1_IO01_PWM1_OUT		0x6	/* SODIMM 19 */
		>;
	};

	pinctrl_pwm_2: pwm2grp {
		fsl,pins = <
			MX8MM_IOMUXC_SPDIF_RX_PWM2_OUT			0x6	/* SODIMM 15 */
		>;
	};

	pinctrl_pwm_3: pwm3grp {
		fsl,pins = <
			MX8MM_IOMUXC_SPDIF_TX_PWM3_OUT			0x6	/* SODIMM 16 */
		>;
	};

	/* Verdin PWM_3_DSI (pulled-down as active-high) shared with PWM1_OUT */
	pinctrl_pwm_3_dsi_hpd_gpio: pwm3dsihpdgpiogrp {
		fsl,pins = <
			MX8MM_IOMUXC_GPIO1_IO01_GPIO1_IO1		0x106	/* SODIMM 19 */
		>;
	};

	pinctrl_reg_eth: regethgrp {
		fsl,pins = <
			MX8MM_IOMUXC_SD2_WP_GPIO2_IO20			0x146	/* PMIC_EN_ETH */
		>;
	};

	pinctrl_reg_usb1_en: regusb1engrp {
		fsl,pins = <
			MX8MM_IOMUXC_GPIO1_IO12_GPIO1_IO12		0x106	/* SODIMM 155 */
		>;
	};

	pinctrl_reg_usb2_en: regusb2engrp {
		fsl,pins = <
			MX8MM_IOMUXC_GPIO1_IO14_GPIO1_IO14		0x106	/* SODIMM 185 */
		>;
	};

	pinctrl_sai2: sai2grp {
		fsl,pins = <
			MX8MM_IOMUXC_SAI2_TXFS_SAI2_TX_SYNC		0x6	/* SODIMM 32 */
			MX8MM_IOMUXC_SAI2_TXC_SAI2_TX_BCLK		0x6	/* SODIMM 30 */
			MX8MM_IOMUXC_SAI2_MCLK_SAI2_MCLK		0x6	/* SODIMM 38 */
			MX8MM_IOMUXC_SAI2_RXD0_SAI2_RX_DATA0		0x6	/* SODIMM 36 */
			MX8MM_IOMUXC_SAI2_TXD0_SAI2_TX_DATA0		0x6	/* SODIMM 34 */
		>;
	};

	pinctrl_sai5: sai5grp {
		fsl,pins = <
			MX8MM_IOMUXC_SAI5_RXD0_SAI5_RX_DATA0		0x6	/* SODIMM 48 */
			MX8MM_IOMUXC_SAI5_RXD1_SAI5_TX_SYNC		0x6	/* SODIMM 44 */
			MX8MM_IOMUXC_SAI5_RXD2_SAI5_TX_BCLK		0x6	/* SODIMM 42 */
			MX8MM_IOMUXC_SAI5_RXD3_SAI5_TX_DATA0		0x6	/* SODIMM 46 */
		>;
	};

	/* control signal for optional ATTPM20P or SE050 */
	pinctrl_pmic_tpm_ena: pmictpmenagrp {
		fsl,pins = <
			MX8MM_IOMUXC_SAI1_TXD7_GPIO4_IO19		0x106	/* PMIC_TPM_ENA */
		>;
	};

	pinctrl_tsp: tspgrp {
		fsl,pins = <
			MX8MM_IOMUXC_SAI1_RXD4_GPIO4_IO6		0x6	/* SODIMM 148 */
			MX8MM_IOMUXC_SAI1_RXD5_GPIO4_IO7		0x6	/* SODIMM 152 */
			MX8MM_IOMUXC_SAI1_RXD6_GPIO4_IO8		0x6	/* SODIMM 154 */
			MX8MM_IOMUXC_SAI1_RXD7_GPIO4_IO9		0x146	/* SODIMM 174 */
			MX8MM_IOMUXC_SAI1_TXD5_GPIO4_IO17		0x6	/* SODIMM 150 */
		>;
	};

	pinctrl_uart1: uart1grp {
		fsl,pins = <
			MX8MM_IOMUXC_SAI2_RXFS_UART1_TX			0x146	/* SODIMM 149 */
			MX8MM_IOMUXC_SAI2_RXC_UART1_RX			0x146	/* SODIMM 147 */
		>;
	};

	pinctrl_uart2: uart2grp {
		fsl,pins = <
			MX8MM_IOMUXC_SAI3_TXFS_UART2_DCE_TX		0x146	/* SODIMM 129 */
			MX8MM_IOMUXC_SAI3_TXC_UART2_DCE_RX		0x146	/* SODIMM 131 */
			MX8MM_IOMUXC_SAI3_RXC_UART2_DCE_CTS_B		0x146	/* SODIMM 133 */
			MX8MM_IOMUXC_SAI3_RXD_UART2_DCE_RTS_B		0x146	/* SODIMM 135 */
		>;
	};

	pinctrl_uart3: uart3grp {
		fsl,pins = <
			MX8MM_IOMUXC_ECSPI1_SCLK_UART3_DCE_RX		0x146	/* SODIMM 137 */
			MX8MM_IOMUXC_ECSPI1_MOSI_UART3_DCE_TX		0x146	/* SODIMM 139 */
			MX8MM_IOMUXC_ECSPI1_MISO_UART3_DCE_CTS_B	0x146	/* SODIMM 141 */
			MX8MM_IOMUXC_ECSPI1_SS0_UART3_DCE_RTS_B		0x146	/* SODIMM 143 */
		>;
	};

	pinctrl_uart4: uart4grp {
		fsl,pins = <
			MX8MM_IOMUXC_UART4_RXD_UART4_DCE_RX		0x146	/* SODIMM 151 */
			MX8MM_IOMUXC_UART4_TXD_UART4_DCE_TX		0x146	/* SODIMM 153 */
		>;
	};

	pinctrl_usdhc1: usdhc1grp {
		fsl,pins = <
			MX8MM_IOMUXC_SD1_CLK_USDHC1_CLK			0x190
			MX8MM_IOMUXC_SD1_CMD_USDHC1_CMD			0x1d0
			MX8MM_IOMUXC_SD1_DATA0_USDHC1_DATA0		0x1d0
			MX8MM_IOMUXC_SD1_DATA1_USDHC1_DATA1		0x1d0
			MX8MM_IOMUXC_SD1_DATA2_USDHC1_DATA2		0x1d0
			MX8MM_IOMUXC_SD1_DATA3_USDHC1_DATA3		0x1d0
			MX8MM_IOMUXC_SD1_DATA4_USDHC1_DATA4		0x1d0
			MX8MM_IOMUXC_SD1_DATA5_USDHC1_DATA5		0x1d0
			MX8MM_IOMUXC_SD1_DATA6_USDHC1_DATA6		0x1d0
			MX8MM_IOMUXC_SD1_DATA7_USDHC1_DATA7		0x1d0
			MX8MM_IOMUXC_SD1_RESET_B_USDHC1_RESET_B 	0x1d1
			MX8MM_IOMUXC_SD1_STROBE_USDHC1_STROBE		0x190
		>;
	};

	pinctrl_usdhc1_100mhz: usdhc1grp100mhz {
		fsl,pins = <
			MX8MM_IOMUXC_SD1_CLK_USDHC1_CLK			0x194
			MX8MM_IOMUXC_SD1_CMD_USDHC1_CMD			0x1d4
			MX8MM_IOMUXC_SD1_DATA0_USDHC1_DATA0		0x1d4
			MX8MM_IOMUXC_SD1_DATA1_USDHC1_DATA1		0x1d4
			MX8MM_IOMUXC_SD1_DATA2_USDHC1_DATA2		0x1d4
			MX8MM_IOMUXC_SD1_DATA3_USDHC1_DATA3		0x1d4
			MX8MM_IOMUXC_SD1_DATA4_USDHC1_DATA4		0x1d4
			MX8MM_IOMUXC_SD1_DATA5_USDHC1_DATA5		0x1d4
			MX8MM_IOMUXC_SD1_DATA6_USDHC1_DATA6		0x1d4
			MX8MM_IOMUXC_SD1_DATA7_USDHC1_DATA7		0x1d4
			MX8MM_IOMUXC_SD1_RESET_B_USDHC1_RESET_B 	0x1d1
			MX8MM_IOMUXC_SD1_STROBE_USDHC1_STROBE		0x194
		>;
	};

	pinctrl_usdhc1_200mhz: usdhc1grp200mhz {
		fsl,pins = <
			MX8MM_IOMUXC_SD1_CLK_USDHC1_CLK			0x196
			MX8MM_IOMUXC_SD1_CMD_USDHC1_CMD			0x1d6
			MX8MM_IOMUXC_SD1_DATA0_USDHC1_DATA0		0x1d6
			MX8MM_IOMUXC_SD1_DATA1_USDHC1_DATA1		0x1d6
			MX8MM_IOMUXC_SD1_DATA2_USDHC1_DATA2		0x1d6
			MX8MM_IOMUXC_SD1_DATA3_USDHC1_DATA3		0x1d6
			MX8MM_IOMUXC_SD1_DATA4_USDHC1_DATA4		0x1d6
			MX8MM_IOMUXC_SD1_DATA5_USDHC1_DATA5		0x1d6
			MX8MM_IOMUXC_SD1_DATA6_USDHC1_DATA6		0x1d6
			MX8MM_IOMUXC_SD1_DATA7_USDHC1_DATA7		0x1d6
			MX8MM_IOMUXC_SD1_RESET_B_USDHC1_RESET_B 	0x1d1
			MX8MM_IOMUXC_SD1_STROBE_USDHC1_STROBE		0x196
		>;
	};

	pinctrl_usdhc2_cd: usdhc2cdgrp {
		fsl,pins = <
			MX8MM_IOMUXC_SD2_CD_B_GPIO2_IO12		0x6	/* SODIMM 84 */
		>;
	};

	pinctrl_usdhc2_cd_sleep: usdhc2cdslpgrp {
		fsl,pins = <
			MX8MM_IOMUXC_SD2_CD_B_GPIO2_IO12		0x0	/* SODIMM 84 */
		>;
	};

	pinctrl_usdhc2_pwr_en: usdhc2pwrengrp {
		fsl,pins = <
			MX8MM_IOMUXC_NAND_CLE_GPIO3_IO5			0x6	/* SODIMM 76 */
		>;
	};

	/*
	 * Note: Due to ERR050080 we use discrete external on-module resistors pulling-up to the
	 * on-module +V3.3_1.8_SD (LDO5) rail and explicitly disable the internal pull-ups here.
	 */
	pinctrl_usdhc2: usdhc2grp {
		fsl,pins = <
			MX8MM_IOMUXC_SD2_CLK_USDHC2_CLK			0x90	/* SODIMM 78 */
			MX8MM_IOMUXC_SD2_CMD_USDHC2_CMD			0x90	/* SODIMM 74 */
			MX8MM_IOMUXC_SD2_DATA0_USDHC2_DATA0		0x90	/* SODIMM 80 */
			MX8MM_IOMUXC_SD2_DATA1_USDHC2_DATA1		0x90	/* SODIMM 82 */
			MX8MM_IOMUXC_SD2_DATA2_USDHC2_DATA2		0x90	/* SODIMM 70 */
			MX8MM_IOMUXC_SD2_DATA3_USDHC2_DATA3		0x90	/* SODIMM 72 */
			MX8MM_IOMUXC_GPIO1_IO04_USDHC2_VSELECT		0x10
		>;
	};

	pinctrl_usdhc2_100mhz: usdhc2grp100mhz {
		fsl,pins = <
			MX8MM_IOMUXC_SD2_CLK_USDHC2_CLK			0x94
			MX8MM_IOMUXC_SD2_CMD_USDHC2_CMD			0x94
			MX8MM_IOMUXC_SD2_DATA0_USDHC2_DATA0		0x94
			MX8MM_IOMUXC_SD2_DATA1_USDHC2_DATA1		0x94
			MX8MM_IOMUXC_SD2_DATA2_USDHC2_DATA2		0x94
			MX8MM_IOMUXC_SD2_DATA3_USDHC2_DATA3		0x94
			MX8MM_IOMUXC_GPIO1_IO04_USDHC2_VSELECT		0x10
		>;
	};

	pinctrl_usdhc2_200mhz: usdhc2grp200mhz {
		fsl,pins = <
			MX8MM_IOMUXC_SD2_CLK_USDHC2_CLK			0x96
			MX8MM_IOMUXC_SD2_CMD_USDHC2_CMD			0x96
			MX8MM_IOMUXC_SD2_DATA0_USDHC2_DATA0		0x96
			MX8MM_IOMUXC_SD2_DATA1_USDHC2_DATA1		0x96
			MX8MM_IOMUXC_SD2_DATA2_USDHC2_DATA2		0x96
			MX8MM_IOMUXC_SD2_DATA3_USDHC2_DATA3		0x96
			MX8MM_IOMUXC_GPIO1_IO04_USDHC2_VSELECT		0x10
		>;
	};

	/* Avoid backfeeding with removed card power */
	pinctrl_usdhc2_sleep: usdhc2slpgrp {
		fsl,pins = <
			MX8MM_IOMUXC_SD2_CLK_USDHC2_CLK			0x0
			MX8MM_IOMUXC_SD2_CMD_USDHC2_CMD			0x0
			MX8MM_IOMUXC_SD2_DATA0_USDHC2_DATA0		0x0
			MX8MM_IOMUXC_SD2_DATA1_USDHC2_DATA1		0x0
			MX8MM_IOMUXC_SD2_DATA2_USDHC2_DATA2		0x0
			MX8MM_IOMUXC_SD2_DATA3_USDHC2_DATA3		0x0
			MX8MM_IOMUXC_GPIO1_IO04_USDHC2_VSELECT		0x0
		>;
	};

	/* On-module Wi-Fi/BT or type specific SDHC interface (e.g. on X52 extension slot of Verdin Development Board */
	pinctrl_usdhc3: usdhc3grp {
		fsl,pins = <
			MX8MM_IOMUXC_NAND_WE_B_USDHC3_CLK		0x150
			MX8MM_IOMUXC_NAND_WP_B_USDHC3_CMD		0x150
			MX8MM_IOMUXC_NAND_DATA04_USDHC3_DATA0		0x150
			MX8MM_IOMUXC_NAND_DATA05_USDHC3_DATA1		0x150
			MX8MM_IOMUXC_NAND_DATA06_USDHC3_DATA2		0x150
			MX8MM_IOMUXC_NAND_DATA07_USDHC3_DATA3		0x150
		>;
	};

	pinctrl_usdhc3_100mhz: usdhc3grp100mhz {
		fsl,pins = <
			MX8MM_IOMUXC_NAND_WE_B_USDHC3_CLK		0x154
			MX8MM_IOMUXC_NAND_WP_B_USDHC3_CMD		0x154
			MX8MM_IOMUXC_NAND_DATA04_USDHC3_DATA0		0x154
			MX8MM_IOMUXC_NAND_DATA05_USDHC3_DATA1		0x154
			MX8MM_IOMUXC_NAND_DATA06_USDHC3_DATA2		0x154
			MX8MM_IOMUXC_NAND_DATA07_USDHC3_DATA3		0x154
		>;
	};

	pinctrl_usdhc3_200mhz: usdhc3grp200mhz {
		fsl,pins = <
			MX8MM_IOMUXC_NAND_WE_B_USDHC3_CLK		0x156
			MX8MM_IOMUXC_NAND_WP_B_USDHC3_CMD		0x156
			MX8MM_IOMUXC_NAND_DATA04_USDHC3_DATA0		0x156
			MX8MM_IOMUXC_NAND_DATA05_USDHC3_DATA1		0x156
			MX8MM_IOMUXC_NAND_DATA06_USDHC3_DATA2		0x156
			MX8MM_IOMUXC_NAND_DATA07_USDHC3_DATA3		0x156
		>;
	};

	pinctrl_wdog: wdoggrp {
		fsl,pins = <
			MX8MM_IOMUXC_GPIO1_IO02_WDOG1_WDOG_B		0x166	/* PMIC_WDI */
		>;
	};

	pinctrl_wifi_ctrl: wifictrlgrp {
		fsl,pins = <
			MX8MM_IOMUXC_NAND_READY_B_GPIO3_IO16		0x46		/* WIFI_WKUP_BT */
			MX8MM_IOMUXC_SAI1_RXD7_GPIO4_IO9		0x146		/* WIFI_W_WKUP_HOST */
			MX8MM_IOMUXC_SAI5_RXC_GPIO3_IO20		0x46		/* WIFI_WKUP_WLAN */
		>;
	};

	pinctrl_wifi_i2s: bti2sgrp {
		fsl,pins = <
			MX8MM_IOMUXC_SAI1_RXD4_SAI6_TX_BCLK		0x6		/* WIFI_TX_BCLK */
			MX8MM_IOMUXC_SAI1_RXD5_SAI6_TX_DATA0		0x6		/* WIFI_TX_DATA0 */
			MX8MM_IOMUXC_SAI1_RXD6_SAI6_TX_SYNC		0x6		/* WIFI_TX_SYNC */
			MX8MM_IOMUXC_SAI1_TXD5_SAI6_RX_DATA0		0x6		/* WIFI_RX_DATA0 */
		>;
	};

	pinctrl_wifi_pwr_en: wifipwrengrp {
		fsl,pins = <
			MX8MM_IOMUXC_SAI5_MCLK_GPIO3_IO25		0x6		/* PMIC_EN_WIFI */
		>;
	};
};
